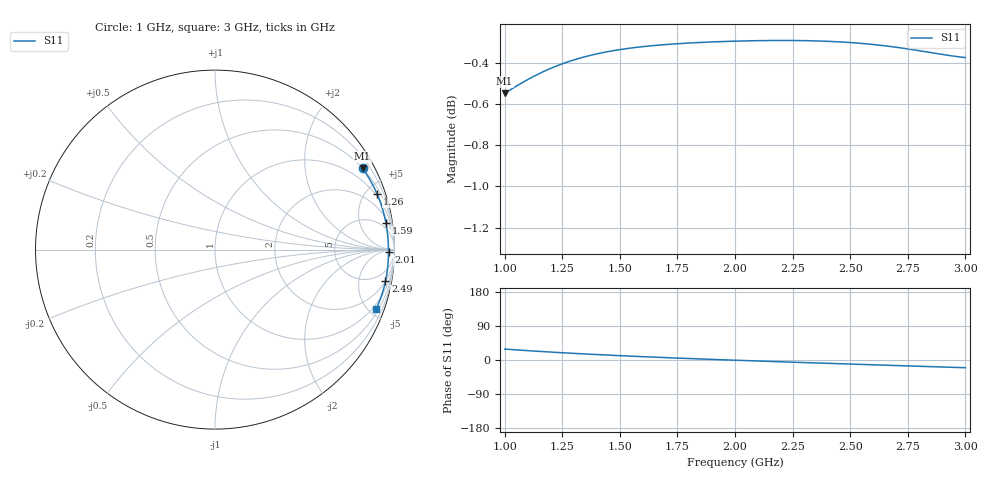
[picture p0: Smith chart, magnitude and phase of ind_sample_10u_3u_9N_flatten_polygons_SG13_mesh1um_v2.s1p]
#  Hz  S  RI  R  50
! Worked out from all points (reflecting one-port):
!   401 points, 1 GHz to 3 GHz, reference 50 ohm
!   lowest |S11| = -0.5 dB at 1 GHz (marker M1), VSWR 31.70, Z = 25 + j191 ohm
!   phase of S11 starts at 29 deg and turns -49 deg over the sweep
!   S11 on the Smith chart (normalised r, x): 1 GHz: 0.50, +3.82; 1.26 GHz: 0.85, +5.92; 1.59 GHz: 3, +12; 2.01 GHz: 50, -21; 2.49 GHz: 2, -10; 3 GHz: 0.68, -5.49
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1e9  0.8221 0.4534
1.01e9  0.8263 0.4474
1.04e9  0.8382 0.4297
1.07e9  0.8493 0.4123
1.13e9  0.8694 0.3782
1.19e9  0.8868 0.3452
1.25e9  0.9017 0.3131
1.26e9  0.904 0.3079
1.315e9  0.9155 0.2796
1.375e9  0.9261 0.2497
1.435e9  0.9351 0.2208
1.5e9  0.9431 0.1907
1.59e9  0.9518 0.1508
1.67e9  0.9575 0.1169
1.75e9  0.9616 0.0844
1.87e9  0.9654 0.0379
2e9  0.9667 -0.0101
2.01e9  0.9667 -0.0137
2.13e9  0.9654 -0.0562
2.25e9  0.9622 -0.0974
2.37e9  0.957 -0.1376
2.49e9  0.9497 -0.177
2.5e9  0.949 -0.1802
2.625e9  0.9391 -0.2203
2.75e9  0.927 -0.2592
2.91e9  0.9089 -0.3072
2.99e9  0.8992 -0.3305
3e9  0.898 -0.3334
